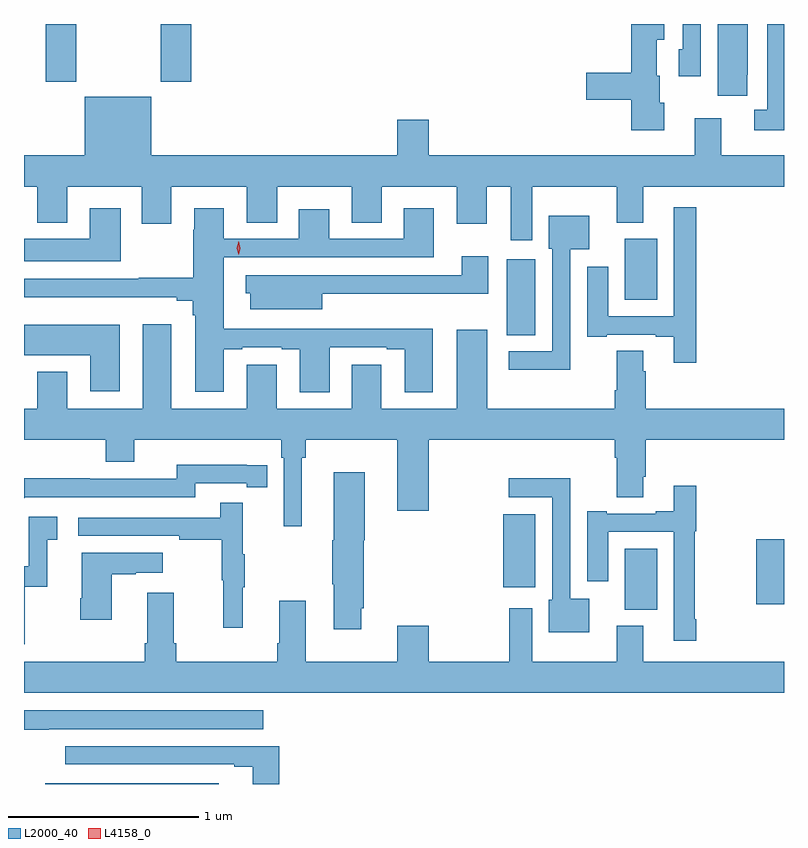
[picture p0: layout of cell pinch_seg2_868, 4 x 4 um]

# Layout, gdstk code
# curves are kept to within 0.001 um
import gdstk
lib = gdstk.Library(unit=1e-6, precision=1e-09)
def R(c, l, rs):  # rectangles x0, y0, x1, y1
    for r in rs: c.add(gdstk.rectangle(r[:2], r[2:], *l))
def P(c, l, *ps):  # polygons
    for p in ps: c.add(gdstk.Polygon(p, *l))
L2000_40 = (2000, 40)
L4158_0 = (4158, 0)

pinch_seg2_868 = lib.new_cell('pinch_seg2_868')
R(pinch_seg2_868, L2000_40, [(390.927,619.184,391.84,619.188), (393.977,620.102,394.147,620.422), (394.67,620.129,394.815,620.473), (393.338,620.219,393.505,620.605), (393.356,621.547,393.505,621.946), (393.977,621.734,394.147,622.054), (390.929,622.881,391.089,623.184), (391.534,622.881,391.694,623.184)])
P(pinch_seg2_868, L2000_40, [(394.815,623.184),(394.727,623.184),(394.727,622.733),(394.659,622.733),(394.659,622.625),(394.815,622.625)],
  [(394.377,623.184),(394.281,623.184),(394.281,623.052),(394.26,623.052),(394.26,622.908),(394.377,622.908)],
  [(394.186,622.77),(394.162,622.77),(394.162,622.911),(394.144,622.911),(394.144,623.102),(394.186,623.102),(394.186,623.184),(394.01,623.184),(394.01,622.928),(393.774,622.928),(393.774,622.786),(394.01,622.786),(394.01,622.626),(394.186,622.626)],
  [(394.622,622.918),(394.624,622.918),(394.624,623.182),(394.466,623.182),(394.466,622.806),(394.622,622.806)],
  [(393.49,622.328),(393.935,622.328),(393.935,622.139),(394.075,622.139),(394.075,622.328),(394.815,622.328),(394.815,622.492),(394.486,622.492),(394.486,622.687),(394.346,622.687),(394.346,622.492),(392.944,622.492),(392.944,622.681),(392.78,622.681),(392.78,622.492),(391.486,622.492),(391.486,622.801),(391.136,622.801),(391.136,622.492),(390.815,622.492),(390.815,622.328),(390.884,622.328),(390.884,622.139),(391.042,622.139),(391.042,622.328),(391.436,622.328),(391.436,622.134),(391.591,622.134),(391.591,622.328),(391.988,622.328),(391.988,622.138),(392.149,622.138),(392.149,622.328),(392.54,622.328),(392.54,622.138),(392.698,622.138),(392.698,622.328),(393.092,622.328),(393.092,622.134),(393.25,622.134),(393.25,622.328),(393.377,622.328),(393.377,622.047),(393.49,622.047)],
  [(394.352,622.219),(394.236,622.219),(394.236,621.645),(393.889,621.645),(393.889,621.907),(393.779,621.907),(393.779,621.537),(393.883,621.537),(393.883,621.549),(394.139,621.549),(394.139,621.537),(394.235,621.537),(394.235,621.402),(394.352,621.402)],
  [(392.425,621.483),(392.723,621.483),(392.723,621.471),(392.819,621.471),(392.819,621.246),(392.965,621.246),(392.965,621.581),(392.421,621.581),(392.421,621.579),(391.867,621.579),(391.867,621.957),(392.971,621.957),(392.971,622.213),(392.813,622.213),(392.813,622.053),(392.422,622.053),(392.422,622.21),(392.261,622.21),(392.261,622.053),(391.867,622.053),(391.867,622.213),(391.712,622.213),(391.712,622.1),(391.705,622.1),(391.705,621.848),(391.42,621.848),(391.42,621.843),(390.815,621.843),(390.815,621.746),(391.619,621.746),(391.619,621.727),(391.703,621.727),(391.703,621.65),(391.715,621.65),(391.715,621.249),(391.867,621.249),(391.867,621.471),(391.963,621.471),(391.963,621.483),(392.171,621.483),(392.171,621.471),(392.267,621.471),(392.267,621.245),(392.425,621.245)],
  [(391.324,622.213),(391.16,622.213),(391.16,622.054),(390.815,622.054),(390.815,621.935),(391.324,621.935)],
  [(393.69,621.998),(393.79,621.998),(393.79,622.174),(393.578,622.174),(393.578,622.002),(393.594,622.002),(393.594,621.462),(393.366,621.462),(393.366,621.365),(393.69,621.365)],
  [(392.386,621.764),(393.259,621.764),(393.259,621.961),(393.119,621.961),(393.119,621.861),(392.282,621.861),(392.282,621.862),(391.982,621.862),(391.982,621.768),(392.006,621.768),(392.006,621.683),(392.386,621.683)],
  [(392.278,620.9),(392.297,620.9),(392.297,620.996),(392.78,620.996),(392.78,620.622),(392.944,620.622),(392.944,620.996),(393.923,620.996),(393.923,620.9),(393.935,620.9),(393.935,620.692),(394.075,620.692),(394.075,620.8),(394.088,620.8),(394.088,620.996),(394.815,620.996),(394.815,621.16),(394.088,621.16),(394.088,621.356),(394.075,621.356),(394.075,621.464),(393.935,621.464),(393.935,621.256),(393.923,621.256),(393.923,621.16),(393.253,621.16),(393.253,621.574),(393.092,621.574),(393.092,621.16),(392.695,621.16),(392.695,621.391),(392.54,621.391),(392.54,621.16),(392.146,621.16),(392.146,621.391),(391.988,621.391),(391.988,621.16),(391.591,621.16),(391.591,621.604),(391.439,621.604),(391.439,621.16),(391.042,621.16),(391.042,621.355),(390.884,621.355),(390.884,621.16),(390.815,621.16),(390.815,620.996),(391.244,620.996),(391.244,620.879),(391.396,620.879),(391.396,620.996),(392.168,620.996),(392.168,620.9),(392.181,620.9),(392.181,620.541),(392.278,620.541)],
  [(391.318,621.601),(390.815,621.601),(390.815,621.44),(391.163,621.44),(391.163,621.252),(391.318,621.252)],
  [(390.822,620.694),(391.716,620.694),(391.716,620.766),(391.988,620.766),(391.988,620.746),(392.096,620.746),(392.096,620.862),(391.62,620.863),(391.62,620.79),(391.16,620.79),(391.16,620.792),(390.815,620.792),(390.815,620.687)],
  [(392.59,620.11),(392.603,620.11),(392.603,620.466),(392.608,620.466),(392.608,620.824),(392.444,620.824),(392.444,620.466),(392.437,620.466),(392.437,620.236),(392.444,620.236),(392.444,619.998),(392.59,619.998)],
  [(393.79,620.158),(393.69,620.158),(393.69,620.792),(393.366,620.792),(393.366,620.694),(393.594,620.694),(393.594,620.154),(393.578,620.154),(393.578,619.982),(393.79,619.982)],
  [(394.352,620.05),(394.345,620.05),(394.345,620.514),(394.352,620.514),(394.352,620.755),(394.235,620.755),(394.235,620.62),(394.139,620.62),(394.139,620.607),(393.883,620.607),(393.883,620.62),(393.779,620.62),(393.779,620.25),(393.889,620.25),(393.889,620.511),(394.236,620.511),(394.236,619.938),(394.352,619.938)],
  [(391.967,620.219),(391.978,620.219),(391.978,620.393),(391.967,620.393),(391.967,620.665),(391.849,620.665),(391.849,620.586),(391.101,620.586),(391.101,620.49),(391.633,620.49),(391.633,620.47),(391.857,620.47),(391.857,620.256),(391.864,620.256),(391.864,620.007),(391.967,620.007)],
  [(390.82,620.223),(390.938,620.223),(390.938,620.469),(390.991,620.469),(390.991,620.59),(390.84,620.59),(390.84,620.331),(390.815,620.331),(390.815,619.92),(390.82,619.92)],
  [(391.276,620.287),(391.403,620.287),(391.403,620.297),(391.546,620.297),(391.546,620.401),(391.118,620.401),(391.118,620.161),(391.111,620.161),(391.111,620.049),(391.276,620.049)],
  [(391.603,619.924),(391.603,620.191),(391.463,620.191),(391.463,619.924),(391.451,619.924),(391.451,619.828),(390.815,619.828),(390.815,619.664),(394.815,619.664),(394.815,619.828),(394.075,619.828),(394.075,620.017),(393.935,620.017),(393.935,619.828),(393.49,619.828),(393.49,620.11),(393.37,620.11),(393.37,619.828),(392.944,619.828),(392.944,620.017),(392.78,620.017),(392.78,619.828),(392.299,619.828),(392.299,620.149),(392.159,620.149),(392.159,619.924),(392.147,619.924),(392.147,619.828),(391.616,619.828),(391.616,619.924)],
  [(390.944,619.472),(392.074,619.472),(392.074,619.573),(390.815,619.573),(390.815,619.47),(390.944,619.47)],
  [(392.159,619.383),(391.032,619.383),(391.032,619.287),(391.922,619.287),(391.922,619.275),(392.018,619.275),(392.018,619.184),(392.159,619.184)])
P(pinch_seg2_868, L4158_0, [(391.944,621.97),(391.944,621.97),(391.934,622.005),(391.944,622.04),(391.944,622.04),(391.944,622.04),(391.954,622.005),(391.944,621.97)])

lib.write_gds('pinch_seg2_868.gds')
